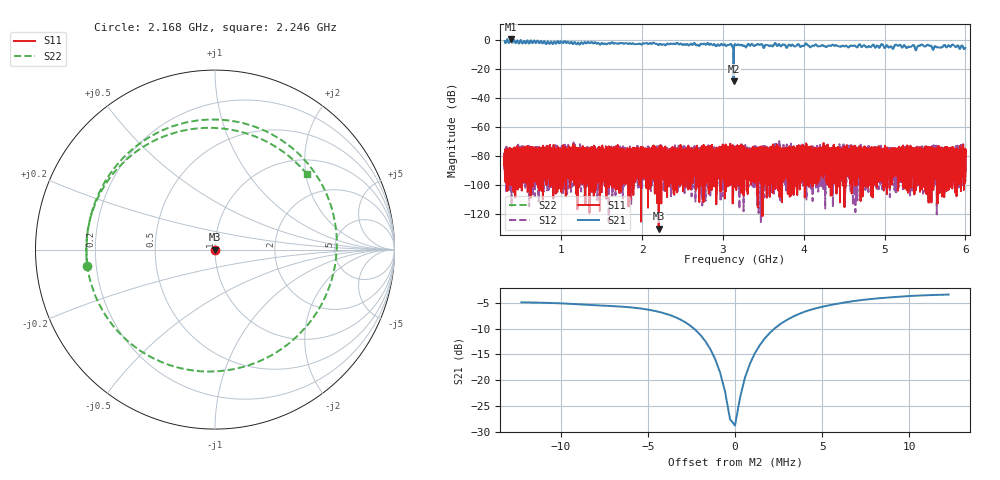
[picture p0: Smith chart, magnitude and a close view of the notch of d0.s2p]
!Agilent Technologies,N5230C,SG49000117,A.08.50.07
!Agilent N5230C: A.08.50.07
!Date: Monday, March 18, 2024 19:10:25
!Correction: S11(Off)
!S21(Off)
!S12(Off)
!S22(Off)
!S2P File: Measurements: S11, S21, S12, S22:
# Hz S  RI  R 50
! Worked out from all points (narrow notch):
!   20001 points, 300 MHz to 6 GHz, reference 50 ohm
!   highest |S21| = 0.44 dB at 374.4 MHz (marker M1); lowest = -28.8 dB at 3.133 GHz (marker M2)
!   notch at M2: 25.3 dB deep, 2.07 MHz wide at half that depth
!   lowest |S11| = -130.2 dB at 2.206 GHz (marker M3), VSWR 1.00, Z = 50 - j3.08e-05 ohm
!   |S11| at or under -10 dB: start of sweep to end of sweep
!   |S22| runs from -28.8 to 0.5 dB; largest |S21 - S12| = 1.1
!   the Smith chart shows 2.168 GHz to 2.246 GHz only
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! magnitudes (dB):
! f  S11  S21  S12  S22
! 300 MHz  -86.1  -0.9  -90.0  -0.9
! 374.4 MHz  -96.4  0.4  -82.6  0.5
! 1.25 GHz  -78.1  -1.7  -80.9  -1.7
! 2.2 GHz  -82.2  -3.5  -90.9  -3.5
! 2.206 GHz  -130.2  -3.5  -83.4  -3.5
! 3.083 GHz  -79.8  -3.4  -85.0  -3.4
! 3.133 GHz  -84.9  -28.8  -74.8  -28.8
! 3.15 GHz  -76.7  -3.1  -77.8  -3.1
! 3.171 GHz  -80.6  -3.9  -84.8  -3.8
! 3.271 GHz  -88.5  -4.3  -81.2  -4.3
! 3.456 GHz  -81.2  -3.5  -77.7  -3.5
! 3.977 GHz  -91.5  -4.1  -77.2  -4.0
! 4.035 GHz  -81.2  -2.9  -79.1  -2.8
! 4.1 GHz  -79.2  -4.3  -84.2  -4.2
! 5.05 GHz  -79.8  -5.3  -83.4  -5.2
! 5.093 GHz  -82.4  -5.5  -79.6  -5.5
! 5.163 GHz  -85.3  -4.1  -81.4  -4.1
! 5.396 GHz  -76.8  -6.3  -80.2  -6.3
! 5.456 GHz  -89.7  -3.4  -77.6  -3.4
! 5.613 GHz  -75.3  -5.2  -78.4  -5.3
! 5.846 GHz  -88.1  -3.4  -86.3  -3.4
! 6 GHz  -94.1  -5.6  -77.8  -5.6
